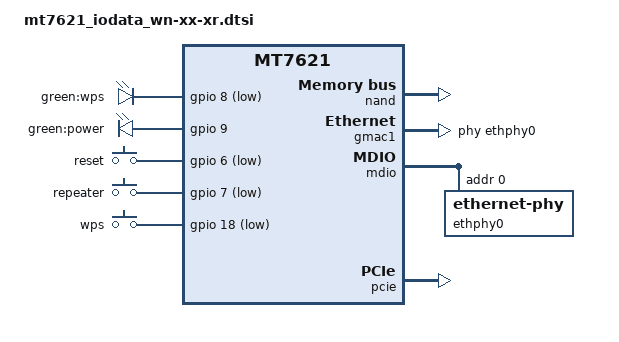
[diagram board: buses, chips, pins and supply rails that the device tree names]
// SPDX-License-Identifier: GPL-2.0-or-later OR MIT

#include "mt7621.dtsi"

#include <dt-bindings/gpio/gpio.h>
#include <dt-bindings/input/input.h>

/ {
	aliases {
		led-boot = &led_power;
		led-failsafe = &led_power;
		led-running = &led_power;
		led-upgrade = &led_power;
		label-mac-device = &gmac1;
	};

	leds {
		compatible = "gpio-leds";

		wps {
			label = "green:wps";
			gpios = <&gpio 8 GPIO_ACTIVE_LOW>;
		};

		led_power: power {
			label = "green:power";
			gpios = <&gpio 9 GPIO_ACTIVE_HIGH>;
		};
	};

	keys {
		compatible = "gpio-keys";

		reset {
			label = "reset";
			gpios = <&gpio 6 GPIO_ACTIVE_LOW>;
			linux,code = <KEY_RESTART>;
		};

		repeater {
			label = "repeater";
			gpios = <&gpio 7 GPIO_ACTIVE_LOW>;
			linux,code = <BTN_0>;
			linux,input-type = <EV_SW>;
		};

		wps {
			label = "wps";
			gpios = <&gpio 18 GPIO_ACTIVE_LOW>;
			linux,code = <KEY_WPS_BUTTON>;
		};
	};
};

&nand {
	status = "okay";

	mediatek,bbt;
	mediatek,bmt-remap-range =
		<0x0000000 0x0800000>,
		<0x3600000 0x4980000>;

	partitions: partitions {
		compatible = "fixed-partitions";
		#address-cells = <1>;
		#size-cells = <1>;

		partition@0 {
			label = "u-boot";
			reg = <0x0 0x0100000>;
			read-only;
		};

		partition@100000 {
			label = "u-boot-env";
			reg = <0x0100000 0x0100000>;
			read-only;
		};

		factory: partition@200000 {
			label = "factory";
			reg = <0x0200000 0x0100000>;
		};

		partition@300000 {
			label = "SecondBoot";
			reg = <0x0300000 0x0100000>;
			read-only;
		};

		partition@400000 {
			label = "kernel";
			reg = <0x0400000 0x0400000>;
		};

		partition@800000 {
			label = "ubi";
			reg = <0x0800000 0x2e00000>;
		};

		partition@3600000 {
			label = "Config";
			reg = <0x3600000 0x0100000>;
			read-only;
		};

		partition@3700000 {
			label = "firmware_2";
			reg = <0x3700000 0x3200000>;
		};

		partition@6900000 {
			label = "Config_2";
			reg = <0x6900000 0x0100000>;
			read-only;
		};

		partition@6a00000 {
			label = "persist";
			reg = <0x6a00000 0x0100000>;
		};
	};
};

&gmac0 {
	nvmem-cells = <&macaddr_factory_e000>;
	nvmem-cell-names = "mac-address";
};

&gmac1 {
	status = "okay";
	label = "wan";
	phy-handle = <&ethphy0>;

	nvmem-cells = <&macaddr_factory_e006>;
	nvmem-cell-names = "mac-address";
};

&mdio {
	ethphy0: ethernet-phy@0 {
		reg = <0>;
	};
};

&switch0 {
	ports {
		port@1 {
			status = "okay";
			label = "lan4";
		};

		port@2 {
			status = "okay";
			label = "lan3";
		};

		port@3 {
			status = "okay";
			label = "lan2";
		};

		port@4 {
			status = "okay";
			label = "lan1";
		};
	};
};

&pcie {
	status = "okay";
};

&state_default {
	gpio {
		groups = "uart2", "uart3", "wdt";
		function = "gpio";
	};
};

&xhci {
	status = "disabled";
};

&factory {
	compatible = "nvmem-cells";
	#address-cells = <1>;
	#size-cells = <1>;

	macaddr_factory_e000: macaddr@e000 {
		reg = <0xe000 0x6>;
	};

	macaddr_factory_e006: macaddr@e006 {
		reg = <0xe006 0x6>;
	};
};
